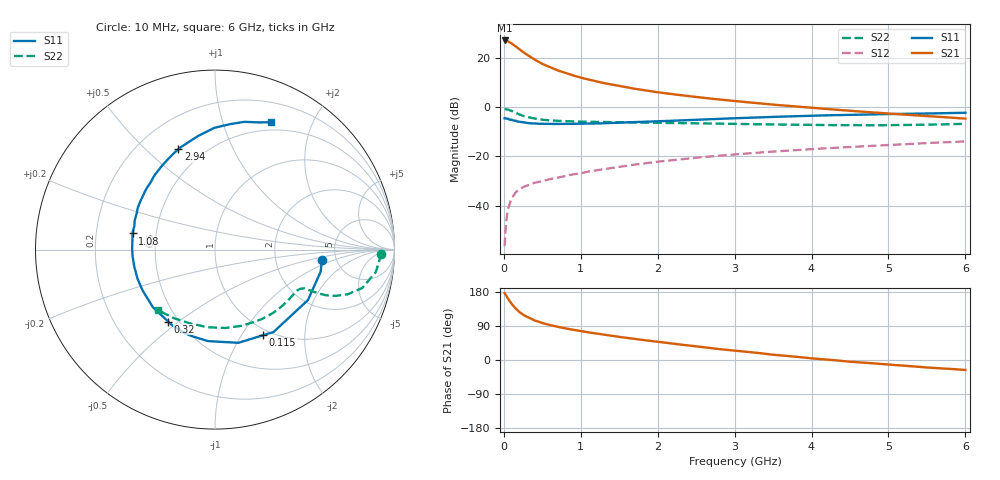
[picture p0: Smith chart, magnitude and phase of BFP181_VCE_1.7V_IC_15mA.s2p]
! Infineon Technologies  Discrete & RF Semiconductors
! BFP181
! VCE = 1.7 V,  IC =  15 mA
! Common Emitter S-Parameters:  Jan 2016
# GHz  S  MA  R  50
!  f  S11  S21  S12  S22
! GHz  MAG  ANG  MAG  ANG  MAG  ANG  MAG  ANG
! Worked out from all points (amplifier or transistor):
!   210 points, 10 MHz to 6 GHz, reference 50 ohm
!   highest |S21| = 27.2 dB at 10 MHz (marker M1)
!   |S21| within 3 dB of that: start of sweep to 178.4 MHz
!   unconditionally stable (mu >= 1): start of sweep to 14.52 MHz; 476.9 MHz to end of sweep
!   at 185 MHz: K = 0.52, MSG = 28.9 dB, |S12| = -33.8 dB
!   at 1.52 GHz: K = 1.55, MAG = 12.0 dB, |S12| = -24.1 dB
!   at 6 GHz: K = 1.21, MAG = 1.9 dB, |S12| = -13.9 dB
!   S11 on the Smith chart (normalised r, x): 10 MHz: 3.83, -0.72; 115 MHz: 0.92, -1.25; 320 MHz: 0.44, -0.46; 1.08 GHz: 0.37, +0.08; 2.94 GHz: 0.37, +0.63; 6 GHz: 0.41, +1.45
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0.01  0.5984 -5.8  22.91 176.5  0.0015 76.7  0.9267 -1.4
0.02  0.6014 -11.8  22.83 173.4  0.0029 86.8  0.9205 -3.1
0.05  0.5892 -28.5  22.23 163.1  0.0079 78.0  0.9043 -8.0
0.1  0.5632 -54.6  19.96 148.4  0.0138 65.1  0.8478 -14.6
0.115  0.547 -60.7  19.16 145.1  0.0151 62.6  0.8266 -15.8
0.15  0.5354 -75.9  17.56 136.3  0.0183 58.3  0.7784 -18.7
0.2  0.5113 -94.4  15.3 126.9  0.0215 54.7  0.7195 -21.0
0.26  0.4942 -110.4  12.96 118.3  0.0242 51.1  0.6652 -22.4
0.32  0.4782 -123.0  11.23 112.2  0.0264 49.7  0.6282 -22.9
0.4  0.4721 -137.1  9.334 104.3  0.0292 48.5  0.5897 -23.2
0.5  0.4632 -150.4  7.648 97.5  0.0316 48.0  0.5599 -23.3
0.58  0.4607 -157.7  6.768 93.3  0.034 49.1  0.5457 -23.5
0.7  0.4595 -168.0  5.627 87.4  0.0373 50.7  0.5308 -24.1
1.02  0.4646 172.2  3.946 75.5  0.0462 52.2  0.5104 -26.7
1.08  0.4677 168.9  3.744 73.5  0.0487 52.7  0.5085 -27.5
1.5  0.4886 151.9  2.717 61.0  0.0619 53.4  0.498 -32.9
2.02  0.5187 133.8  2.006 47.5  0.0789 51.9  0.487 -41.1
2.94  0.595 110.1  1.372 26.0  0.1083 46.8  0.4627 -58.4
3.1  0.6068 106.6  1.298 22.8  0.1133 45.6  0.4574 -61.8
4.1  0.6828 88.8  0.953 2.8  0.1443 38.2  0.4375 -85.0
5.1  0.7335 75.8  0.729 -13.5  0.1743 30.6  0.4343 -110.6
6  0.7755 66.2  0.589 -26.3  0.2025 22.5  0.4626 -133.0
